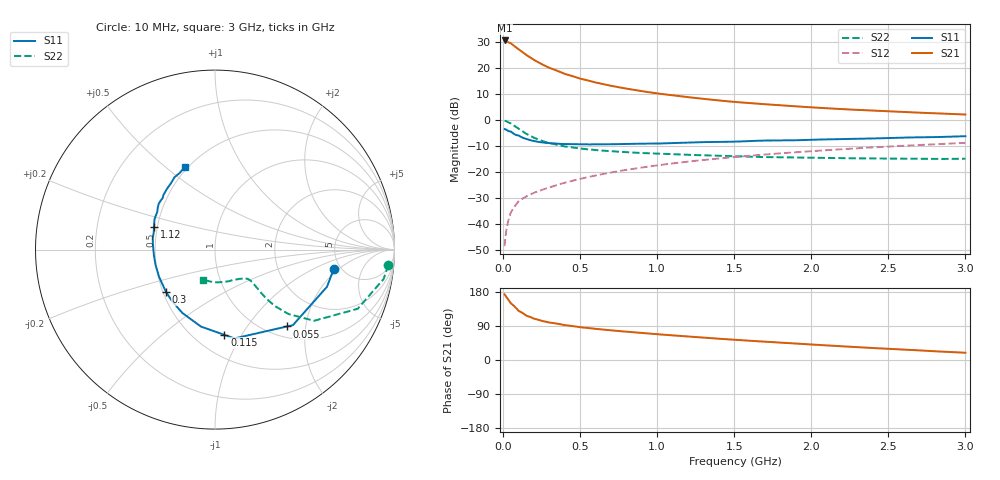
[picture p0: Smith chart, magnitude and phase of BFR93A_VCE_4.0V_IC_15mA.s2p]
! Infineon Technologies  Discrete & RF Semiconductors
! BFR93A
! VCE =  4.0 V,  IC =  15 mA
! Common Emitter S-Parameters:  Nov 2015
# GHz  S  MA  R  50
!  f  S11  S21  S12  S22
! GHz  MAG  ANG  MAG  ANG  MAG  ANG  MAG  ANG
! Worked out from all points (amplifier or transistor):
!   180 points, 10 MHz to 3 GHz, reference 50 ohm
!   highest |S21| = 30.6 dB at 10 MHz (marker M1)
!   |S21| within 3 dB of that: start of sweep to 92.4 MHz
!   unconditionally stable (mu >= 1): 486.6 MHz to 2.759 GHz
!   at 160 MHz: K = 0.62, MSG = 26.8 dB, |S12| = -29.0 dB
!   at 1.22 GHz: K = 1.08, MAG = 10.5 dB, |S12| = -15.8 dB
!   at 3 GHz: K = 0.98, MSG = 5.4 dB, |S12| = -8.7 dB
!   S11 on the Smith chart (normalised r, x): 10 MHz: 4.36, -1.72; 55 MHz: 1.21, -1.58; 115 MHz: 0.69, -0.85; 300 MHz: 0.52, -0.28; 1.12 GHz: 0.48, +0.14; 3 GHz: 0.48, +0.58
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0.01  0.6705 -9.3  33.69 173.1  0.0038 84.5  0.9696 -5.1
0.02  0.6573 -18.4  33.07 166.8  0.0073 80.5  0.9536 -9.9
0.025  0.64 -22.3  32.34 164.2  0.0089 77.8  0.9352 -11.8
0.05  0.6046 -44.1  29.77 149.8  0.0168 71.8  0.861 -22.5
0.055  0.5871 -46.8  28.97 148.2  0.0178 70.4  0.8412 -23.6
0.1  0.5067 -77.6  23.05 129.9  0.0274 62.8  0.6798 -35.7
0.115  0.4779 -83.7  21.38 126.8  0.0294 61.6  0.6389 -37.1
0.15  0.4358 -100.4  17.79 117.3  0.0342 59.4  0.5453 -41.2
0.2  0.3973 -117.2  14.28 109.2  0.0401 59.7  0.4584 -43.3
0.26  0.3703 -131.8  11.46 102.4  0.0466 60.6  0.3926 -43.6
0.3  0.3612 -139.0  10.06 98.9  0.0509 61.5  0.3612 -43.3
0.4  0.3466 -154.2  7.704 92.0  0.0626 63.6  0.3115 -42.2
0.52  0.3415 -166.9  6.053 85.8  0.0767 65.0  0.2802 -41.3
0.6  0.3418 -173.2  5.264 82.2  0.0862 65.6  0.2651 -41.1
0.7  0.3435 -179.8  4.543 78.2  0.0986 65.8  0.2521 -41.4
0.9  0.3527 169.5  3.579 71.4  0.1229 65.4  0.2331 -43.3
1.02  0.3554 163.8  3.189 67.4  0.1375 64.7  0.2263 -45.1
1.12  0.3624 159.8  2.933 64.4  0.1496 64.0  0.2203 -47.0
1.52  0.3867 146.1  2.207 52.9  0.1971 60.6  0.2008 -56.5
2.02  0.4206 132.5  1.739 40.4  0.2552 55.4  0.1881 -71.7
2.52  0.4539 121.0  1.458 29.2  0.3123 49.5  0.1821 -89.6
3  0.4898 110.2  1.277 19.1  0.3653 43.6  0.1811 -111.3
